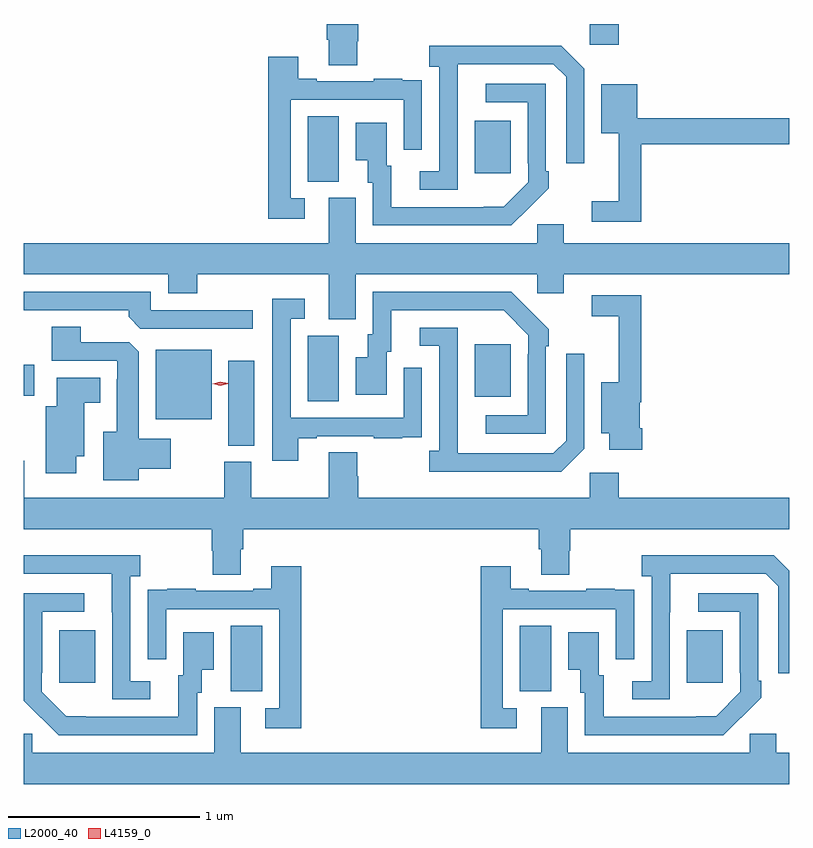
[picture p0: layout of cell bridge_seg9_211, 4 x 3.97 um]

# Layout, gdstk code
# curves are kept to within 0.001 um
import gdstk
lib = gdstk.Library(unit=1e-6, precision=1e-09)
def R(c, l, rs):  # rectangles x0, y0, x1, y1
    for r in rs: c.add(gdstk.rectangle(r[:2], r[2:], *l))
def P(c, l, *ps):  # polygons
    for p in ps: c.add(gdstk.Polygon(p, *l))
L2000_40 = (2000, 40)
L4159_0 = (4159, 0)

bridge_seg9_211 = lib.new_cell('bridge_seg9_211')
R(bridge_seg9_211, L2000_40, [(160.478,1214.221,160.642,1214.564), (161.99,1214.221,162.154,1214.564), (159.581,1214.265,159.769,1214.539), (162.863,1214.265,163.051,1214.539), (160.466,1215.505,160.6,1215.949), (160.085,1215.644,160.378,1216.006), (160.88,1215.736,161.044,1216.08), (161.753,1215.761,161.941,1216.036), (159.397,1215.766,159.451,1215.928), (160.88,1216.885,161.044,1217.228), (161.753,1216.929,161.941,1217.203), (162.354,1217.601,162.506,1217.709)])
P(bridge_seg9_211, L2000_40, [(161.139,1217.619),(161.144,1217.619),(161.144,1217.709),(160.979,1217.709),(160.979,1217.626),(160.991,1217.626),(160.991,1217.494),(161.139,1217.494)],
  [(161.664,1217.299),(161.665,1217.499),(162.165,1217.499),(162.231,1217.433),(162.231,1216.98),(162.327,1216.98),(162.327,1217.475),(162.206,1217.596),(161.517,1217.596),(161.517,1217.486),(161.568,1217.486),(161.568,1216.938),(161.466,1216.938),(161.466,1216.842),(161.664,1216.842)],
  [(160.864,1216.797),(160.791,1216.797),(160.791,1217.313),(161.382,1217.313),(161.382,1217.052),(161.478,1217.052),(161.478,1217.306),(161.477,1217.306),(161.477,1217.415),(161.375,1217.415),(161.375,1217.422),(161.227,1217.422),(161.227,1217.409),(160.927,1217.409),(160.927,1217.422),(160.831,1217.422),(160.831,1217.539),(160.675,1217.539),(160.675,1216.692),(160.864,1216.692)],
  [(162.035,1216.747),(162.036,1216.746),(162.141,1216.851),(162.141,1216.939),(162.126,1216.939),(162.126,1217.397),(161.811,1217.397),(161.811,1217.301),(162.03,1217.301),(162.03,1216.981),(162.033,1216.981),(162.033,1216.881),(161.905,1216.753),(161.317,1216.752),(161.317,1216.968),(161.293,1216.968),(161.293,1217.194),(161.132,1217.194),(161.132,1216.997),(161.195,1216.997),(161.195,1216.878),(161.22,1216.878),(161.22,1216.656),(161.944,1216.656)],
  [(162.623,1217.08),(163.397,1217.08),(163.397,1217.216),(162.603,1217.216),(162.603,1217.395),(162.416,1217.395),(162.416,1217.138),(162.506,1217.138),(162.506,1216.783),(162.366,1216.783),(162.366,1216.674),(162.623,1216.674)],
  [(161.131,1216.4),(162.081,1216.4),(162.081,1216.302),(162.22,1216.302),(162.22,1216.4),(163.397,1216.4),(163.397,1216.564),(162.22,1216.564),(162.22,1216.662),(162.081,1216.662),(162.081,1216.564),(161.131,1216.564),(161.131,1216.8),(160.991,1216.8),(160.991,1216.564),(159.397,1216.564),(159.397,1216.4),(160.151,1216.4),(160.151,1216.301),(160.304,1216.301),(160.304,1216.4),(160.991,1216.4),(160.991,1216.165),(161.131,1216.165)],
  [(160.594,1216.212),(160.059,1216.212),(160.059,1216.308),(159.397,1216.308),(159.397,1216.212),(159.944,1216.212),(159.944,1216.178),(160.005,1216.116),(160.594,1216.116)],
  [(162.126,1216.025),(162.141,1216.025),(162.141,1216.113),(161.944,1216.308),(161.22,1216.308),(161.22,1216.086),(161.195,1216.086),(161.195,1215.967),(161.132,1215.967),(161.132,1215.771),(161.293,1215.771),(161.293,1215.996),(161.317,1215.996),(161.317,1216.212),(161.905,1216.212),(162.033,1216.083),(162.033,1215.983),(162.03,1215.983),(162.03,1215.663),(161.811,1215.663),(161.811,1215.567),(162.126,1215.567)],
  [(162.629,1215.595),(162.616,1215.595),(162.616,1215.731),(162.623,1215.731),(162.623,1216.29),(162.366,1216.29),(162.366,1216.182),(162.506,1216.182),(162.506,1215.835),(162.416,1215.835),(162.416,1215.569),(162.458,1215.569),(162.458,1215.483),(162.629,1215.483)],
  [(160.831,1215.543),(160.927,1215.543),(160.927,1215.555),(161.227,1215.555),(161.227,1215.543),(161.375,1215.543),(161.375,1215.549),(161.477,1215.549),(161.477,1215.658),(161.478,1215.658),(161.478,1215.913),(161.382,1215.913),(161.382,1215.651),(160.791,1215.651),(160.791,1216.167),(160.864,1216.167),(160.864,1216.273),(160.695,1216.273),(160.695,1215.426),(160.831,1215.426)],
  [(159.997,1215.383),(160.165,1215.383),(160.165,1215.541),(159.997,1215.541),(159.997,1215.995),(159.948,1216.044),(159.694,1216.044),(159.694,1216.127),(159.542,1216.127),(159.542,1215.948),(159.885,1215.948),(159.885,1215.851),(159.881,1215.851),(159.881,1215.577),(159.812,1215.577),(159.812,1215.323),(159.997,1215.323)],
  [(162.327,1215.489),(162.327,1215.985),(162.231,1215.985),(162.231,1215.531),(162.165,1215.465),(161.665,1215.465),(161.664,1216.122),(161.466,1216.122),(161.466,1216.026),(161.568,1216.026),(161.568,1215.478),(161.517,1215.478),(161.517,1215.368),(162.206,1215.368)],
  [(159.67,1215.449),(159.712,1215.449),(159.712,1215.728),(159.796,1215.728),(159.796,1215.859),(159.569,1215.859),(159.569,1215.712),(159.512,1215.712),(159.512,1215.36),(159.67,1215.36)],
  [(161.144,1215.345),(161.139,1215.345),(161.139,1215.47),(160.991,1215.47),(160.991,1215.232),(160.585,1215.232),(160.585,1215.42),(160.445,1215.42),(160.445,1215.232),(159.4,1215.232),(159.4,1215.427),(159.397,1215.427),(159.397,1215.068),(160.379,1215.068),(160.379,1214.955),(160.384,1214.955),(160.384,1214.83),(160.531,1214.83),(160.531,1214.962),(160.544,1214.962),(160.544,1215.068),(162.089,1215.068),(162.089,1214.962),(162.101,1214.962),(162.101,1214.83),(162.249,1214.83),(162.249,1214.955),(162.254,1214.955),(162.254,1215.068),(163.397,1215.068),(163.397,1215.232),(162.506,1215.232),(162.506,1215.364),(162.354,1215.364),(162.354,1215.232),(161.144,1215.232)],
  [(160.057,1214.274),(159.954,1214.274),(159.954,1214.822),(160.006,1214.822),(160.006,1214.932),(159.397,1214.932),(159.397,1214.835),(159.857,1214.835),(159.857,1214.635),(159.858,1214.635),(159.858,1214.178),(160.057,1214.178)],
  [(162.774,1214.635),(162.775,1214.835),(163.275,1214.835),(163.341,1214.769),(163.341,1214.316),(163.397,1214.316),(163.397,1214.851),(163.316,1214.932),(162.627,1214.932),(162.627,1214.822),(162.678,1214.822),(162.678,1214.274),(162.576,1214.274),(162.576,1214.178),(162.774,1214.178)],
  [(161.974,1214.133),(161.901,1214.133),(161.901,1214.649),(162.492,1214.649),(162.492,1214.388),(162.588,1214.388),(162.588,1214.642),(162.587,1214.642),(162.587,1214.751),(162.485,1214.751),(162.485,1214.758),(162.337,1214.758),(162.337,1214.745),(162.037,1214.745),(162.037,1214.758),(161.941,1214.758),(161.941,1214.875),(161.785,1214.875),(161.785,1214.028),(161.974,1214.028)],
  [(160.847,1214.875),(160.691,1214.875),(160.691,1214.758),(160.595,1214.758),(160.595,1214.745),(160.295,1214.745),(160.295,1214.758),(160.147,1214.758),(160.147,1214.751),(160.045,1214.751),(160.045,1214.642),(160.044,1214.642),(160.044,1214.388),(160.14,1214.388),(160.14,1214.649),(160.731,1214.649),(160.731,1214.133),(160.659,1214.133),(160.659,1214.028),(160.847,1214.028)],
  [(160.302,1214.214),(160.327,1214.214),(160.327,1214.333),(160.39,1214.333),(160.39,1214.53),(160.229,1214.53),(160.229,1214.304),(160.205,1214.304),(160.205,1214.088),(159.618,1214.089),(159.489,1214.217),(159.489,1214.317),(159.492,1214.317),(159.492,1214.637),(159.712,1214.637),(159.712,1214.733),(159.397,1214.733),(159.397,1214.171),(159.578,1213.992),(160.302,1213.992)],
  [(163.145,1214.083),(163.146,1214.082),(163.251,1214.187),(163.251,1214.275),(163.236,1214.275),(163.236,1214.733),(162.921,1214.733),(162.921,1214.637),(163.14,1214.637),(163.14,1214.317),(163.143,1214.317),(163.143,1214.217),(163.015,1214.089),(162.427,1214.088),(162.427,1214.304),(162.403,1214.304),(162.403,1214.53),(162.242,1214.53),(162.242,1214.333),(162.305,1214.333),(162.305,1214.214),(162.33,1214.214),(162.33,1213.992),(163.054,1213.992)],
  [(163.397,1213.9),(163.33,1213.9),(163.33,1213.998),(163.191,1213.998),(163.191,1213.9),(162.241,1213.9),(162.241,1214.136),(162.101,1214.136),(162.101,1213.9),(160.531,1213.9),(160.531,1214.136),(160.391,1214.136),(160.391,1213.9),(159.441,1213.9),(159.441,1213.998),(159.397,1213.998),(159.397,1213.736),(163.397,1213.736)])
P(bridge_seg9_211, L4159_0, [(160.424,1215.819),(160.384,1215.828),(160.384,1215.829),(160.384,1215.829),(160.424,1215.839),(160.464,1215.83),(160.464,1215.83),(160.464,1215.829)])

lib.write_gds('bridge_seg9_211.gds')
